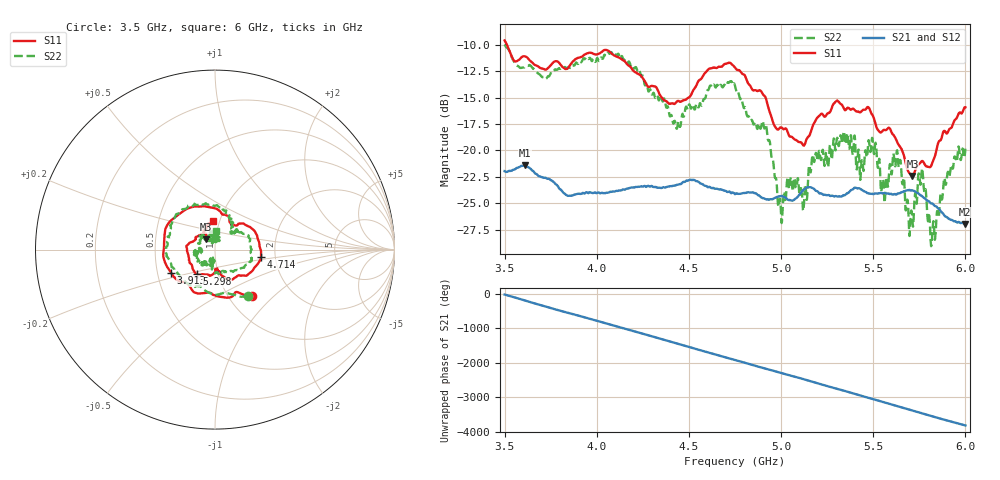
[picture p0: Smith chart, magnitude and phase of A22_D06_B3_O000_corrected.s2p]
! Created with skrf 1.9.0 (http://scikit-rf.org).
# Hz S RI R 50.0
!freq ReS11 ImS11 ReS21 ImS21 ReS12 ImS12 ReS22 ImS22
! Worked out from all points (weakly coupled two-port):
!   1601 points, 3.5 GHz to 6 GHz, reference 50 ohm
!   highest |S21| = -21.41 dB at 3.609 GHz (marker M1); lowest = -27.0 dB at 5.995 GHz (marker M2)
!   lowest |S11| = -22.4 dB at 5.713 GHz (marker M3), VSWR 1.16, Z = 45.1 + j5.29 ohm
!   |S11| at or under -10 dB: 3.513 GHz to end of sweep
!   |S22| runs from -29.1 to -10.0 dB; largest |S21 - S12| = 0.00089
!   S11 on the Smith chart (normalised r, x): 3.5 GHz: 1.28, -0.74; 3.913 GHz: 0.59, -0.17; 4.714 GHz: 1.68, -0.14; 5.298 GHz: 0.79, -0.22; 6 GHz: 0.93, +0.31
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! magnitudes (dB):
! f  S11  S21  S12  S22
! 3.5 GHz  -9.6  -22.0  -21.9  -10.0
! 3.609 GHz  -11.1  -21.4  -21.4  -12.1
! 3.913 GHz  -11.2  -24.1  -24.1  -11.6
! 3.917 GHz  -11.1  -24.1  -24.1  -11.6
! 4.108 GHz  -11.1  -23.8  -23.8  -11.1
! 4.334 GHz  -14.4  -23.5  -23.5  -15.2
! 4.442 GHz  -15.3  -23.2  -23.2  -17.3
! 4.714 GHz  -11.7  -23.9  -23.9  -13.5
! 4.75 GHz  -12.1  -24.1  -24.0  -13.9
! 4.911 GHz  -14.8  -24.6  -24.5  -17.9
! 4.995 GHz  -17.8  -24.3  -24.3  -24.6
! 5.044 GHz  -18.6  -24.7  -24.7  -23.6
! 5.13 GHz  -19.4  -23.6  -23.6  -23.4
! 5.167 GHz  -17.9  -23.5  -23.5  -20.8
! 5.298 GHz  -15.3  -24.3  -24.3  -19.5
! 5.584 GHz  -17.9  -24.1  -24.0  -22.5
! 5.638 GHz  -19.5  -24.1  -24.0  -21.5
! 5.713 GHz  -22.4  -23.8  -23.7  -26.6
! 5.758 GHz  -21.1  -24.3  -24.2  -23.1
! 5.825 GHz  -21.0  -25.1  -25.0  -26.8
! 5.995 GHz  -15.9  -27.0  -26.9  -20.6
! 6 GHz  -15.9  -26.9  -26.9  -19.8
